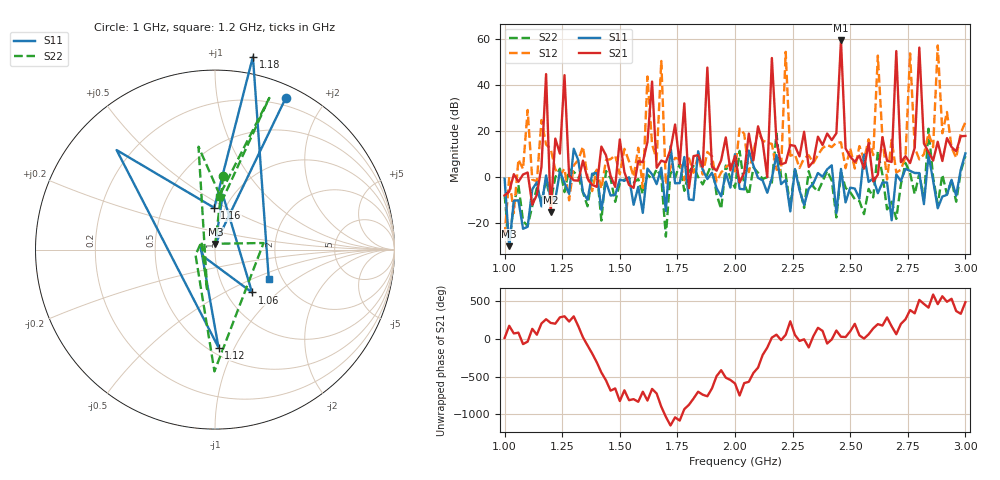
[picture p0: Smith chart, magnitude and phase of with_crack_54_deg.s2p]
# MHz S MA R 50
!  freq  S11  S21  S12  S22
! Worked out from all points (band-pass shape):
!   101 points, 1 GHz to 3 GHz, reference 50 ohm
!   highest |S21| = 59.37 dB at 2.46 GHz (marker M1); lowest = -15.2 dB at 1.2 GHz (marker M2)
!   |S21| within 3 dB of the highest: 2.45851 GHz to 2.46128 GHz (2.77 MHz wide, 0.113 % of centre)
!   lowest |S11| = -29.9 dB at 1.02 GHz (marker M3), VSWR 1.07, Z = 50.1 + j3.19 ohm
!   |S11| at or under -10 dB: 1.006 GHz to 1.114 GHz (107.8 MHz wide, 10.2 % of centre); 1.155 GHz to 1.164 GHz (9.023 MHz wide, 0.778 % of centre); 1.415 GHz to 1.427 GHz (11.94 MHz wide, 0.84 % of centre) (the widest 3 of 13)
!   |S22| runs from -29.7 to 21.1 dB; largest |S21 - S12| = 9.3e+02
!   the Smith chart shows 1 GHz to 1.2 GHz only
!   S11 on the Smith chart (normalised r, x): 1 GHz: 0.12, +1.56; 1.06 GHz: 1.31, -0.70; 1.12 GHz: 0.56, -0.87; 1.16 GHz: 0.89, +0.44; 1.18 GHz: -0.11, +1.21; 1.2 GHz: 1.71, -0.62
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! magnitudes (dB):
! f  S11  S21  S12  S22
! 1 GHz  -0.6  -7.9  -25.4  -7.6
! 1.02 GHz  -29.9  -6.3  0.0  -29.7
! 1.06 GHz  -10.0  -2.0  7.7  -3.4
! 1.12 GHz  -5.3  -11.9  -1.0  -12.5
! 1.16 GHz  -12.7  4.5  24.8  -11.2
! 1.18 GHz  0.8  44.8  14.2  -0.9
! 1.2 GHz  -9.4  -15.2  12.3  -10.6
! 1.26 GHz  -2.5  44.3  3.7  -6.4
! 1.34 GHz  -6.5  7.2  13.3  -6.5
! 1.6 GHz  -15.5  6.5  -4.7  -7.3
! 1.68 GHz  4.1  7.2  50.5  0.0
! 1.7 GHz  -14.6  6.5  -3.3  -25.8
! 2 GHz  10.0  9.2  2.5  -4.6
! 2.2 GHz  -3.0  5.6  3.0  0.3
! 2.22 GHz  -1.2  6.3  54.4  1.4
! 2.34 GHz  -2.7  6.8  6.1  -4.1
! 2.46 GHz  3.6  59.4  15.1  2.2
! 2.68 GHz  -18.7  6.6  16.3  -10.6
! 2.7 GHz  1.2  54.8  2.0  -18.1
! 2.76 GHz  2.8  6.2  53.8  1.8
! 2.8 GHz  1.8  56.3  7.7  1.7
! 3 GHz  10.4  17.9  23.9  9.2
